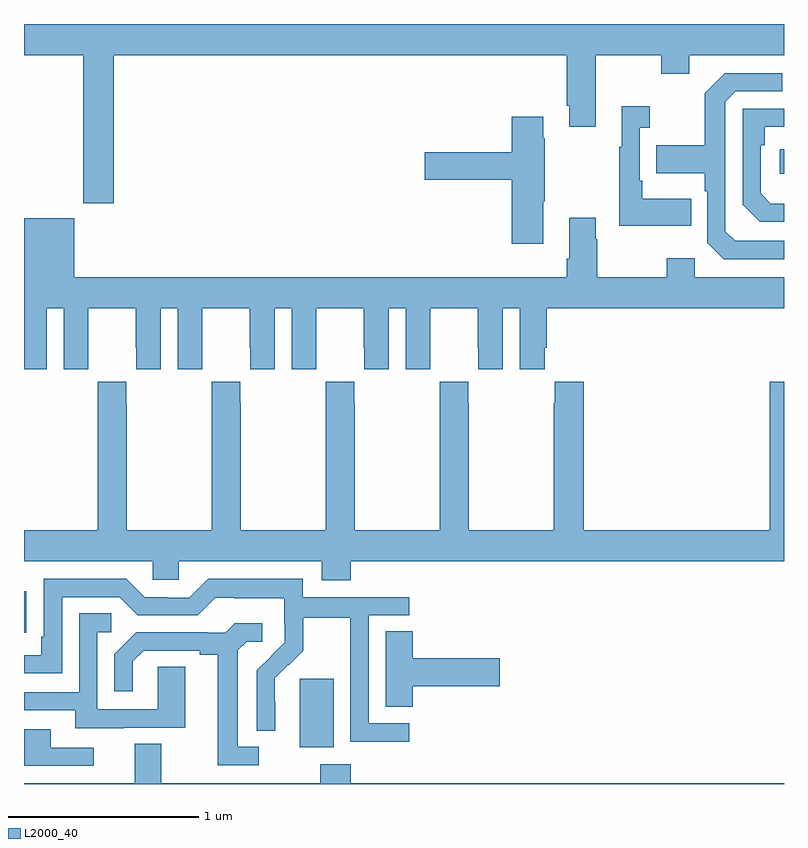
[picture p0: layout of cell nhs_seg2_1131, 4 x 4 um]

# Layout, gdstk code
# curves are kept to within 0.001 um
import gdstk
lib = gdstk.Library(unit=1e-6, precision=1e-09)
def R(c, l, rs):  # rectangles x0, y0, x1, y1
    for r in rs: c.add(gdstk.rectangle(r[:2], r[2:], *l))
def P(c, l, *ps):  # polygons
    for p in ps: c.add(gdstk.Polygon(p, *l))
L2000_40 = (2000, 40)

nhs_seg2_1131 = lib.new_cell('nhs_seg2_1131')
R(nhs_seg2_1131, L2000_40, [(170.45,643.994,170.629,644.355), (169,644.596,169.013,644.815), (172.977,647.012,173,647.142)])
P(nhs_seg2_1131, L2000_40, [(169,647.636),(169.312,647.636),(169.312,646.857),(169.472,646.857),(169.472,647.636),(171.857,647.636),(171.857,647.371),(171.869,647.371),(171.869,647.259),(172.009,647.259),(172.009,647.636),(172.354,647.636),(172.354,647.537),(172.501,647.537),(172.501,647.636),(173,647.636),(173,647.8),(169,647.8)],
  [(173,646.659),(172.743,646.659),(172.692,646.71),(172.692,647.391),(172.746,647.445),(172.99,647.445),(172.99,647.541),(172.689,647.541),(172.584,647.435),(172.584,647.163),(172.327,647.163),(172.327,647.015),(172.584,647.015),(172.584,646.919),(172.596,646.919),(172.596,646.65),(172.683,646.563),(173,646.563)],
  [(172.511,646.879),(172.255,646.879),(172.255,646.975),(172.242,646.975),(172.242,647.255),(172.294,647.255),(172.294,647.368),(172.145,647.368),(172.145,647.155),(172.134,647.155),(172.134,646.739),(172.511,646.739)],
  [(173,646.855),(172.931,646.855),(172.878,646.908),(172.878,647.162),(172.898,647.162),(172.898,647.259),(173,647.259),(173,647.355),(172.782,647.355),(172.782,646.848),(172.872,646.758),(173,646.758)],
  [(171.733,646.867),(171.741,646.867),(171.741,647.198),(171.733,647.198),(171.733,647.311),(171.566,647.311),(171.566,647.126),(171.108,647.126),(171.108,646.979),(171.566,646.979),(171.566,646.644),(171.733,646.644)],
  [(169.12,646.304),(169.208,646.304),(169.208,645.984),(169.338,645.984),(169.338,646.096),(169.339,646.096),(169.339,646.304),(169.589,646.304),(169.589,646.096),(169.59,646.096),(169.59,645.984),(169.72,645.984),(169.72,646.304),(169.808,646.304),(169.808,645.984),(169.938,645.984),(169.938,646.096),(169.939,646.096),(169.939,646.304),(170.189,646.304),(170.189,646.096),(170.19,646.096),(170.19,645.984),(170.32,645.984),(170.32,646.304),(170.408,646.304),(170.408,645.984),(170.538,645.984),(170.538,646.096),(170.539,646.096),(170.539,646.304),(170.789,646.304),(170.789,646.096),(170.79,646.096),(170.79,645.984),(170.92,645.984),(170.92,646.304),(171.008,646.304),(171.008,645.984),(171.138,645.984),(171.138,646.096),(171.139,646.096),(171.139,646.304),(171.389,646.304),(171.389,646.096),(171.39,646.096),(171.39,645.984),(171.52,645.984),(171.52,646.304),(171.608,646.304),(171.608,645.984),(171.742,645.984),(171.742,646.096),(171.752,646.096),(171.752,646.304),(173,646.304),(173,646.468),(172.53,646.468),(172.53,646.567),(172.384,646.567),(172.384,646.468),(172.017,646.468),(172.017,646.667),(172.009,646.667),(172.009,646.78),(171.869,646.78),(171.869,646.564),(171.857,646.564),(171.857,646.468),(169.264,646.468),(169.264,646.777),(169,646.777),(169,645.984),(169.12,645.984)],
  [(173,645.916),(172.925,645.916),(172.925,645.136),(171.947,645.136),(171.947,645.916),(171.793,645.916),(171.793,645.803),(171.787,645.803),(171.787,645.136),(171.342,645.136),(171.342,645.803),(171.339,645.803),(171.339,645.916),(171.189,645.916),(171.189,645.803),(171.187,645.803),(171.187,645.136),(170.742,645.136),(170.742,645.803),(170.739,645.803),(170.739,645.916),(170.589,645.916),(170.589,645.803),(170.587,645.803),(170.587,645.136),(170.142,645.136),(170.142,645.803),(170.139,645.803),(170.139,645.916),(169.989,645.916),(169.989,645.803),(169.987,645.803),(169.987,645.136),(169.542,645.136),(169.542,645.803),(169.539,645.803),(169.539,645.916),(169.389,645.916),(169.389,645.803),(169.387,645.803),(169.387,645.136),(169,645.136),(169,644.972),(169.677,644.972),(169.677,644.874),(169.815,644.874),(169.815,644.972),(170.567,644.972),(170.567,644.873),(170.72,644.873),(170.72,644.972),(173,644.972)],
  [(171.028,644.121),(170.814,644.121),(170.814,644.688),(171.028,644.688),(171.028,644.784),(170.466,644.784),(170.466,644.881),(169.969,644.881),(169.869,644.781),(169.754,644.781),(169.754,644.784),(169.635,644.784),(169.539,644.88),(169.104,644.88),(169.104,644.575),(169.091,644.575),(169.091,644.478),(169,644.478),(169,644.382),(169.2,644.382),(169.2,644.784),(169.503,644.784),(169.599,644.688),(169.914,644.688),(170.007,644.781),(170.107,644.781),(170.107,644.777),(170.37,644.777),(170.37,644.643),(170.372,644.643),(170.372,644.546),(170.226,644.398),(170.226,644.08),(170.322,644.08),(170.321,644.357),(170.391,644.427),(170.394,644.424),(170.471,644.501),(170.471,644.676),(170.716,644.676),(170.716,644.452),(170.718,644.452),(170.718,644.023),(171.028,644.023)],
  [(169.525,644.097),(169.849,644.097),(169.849,644.417),(169.704,644.417),(169.704,644.193),(169.386,644.193),(169.386,644.598),(169.459,644.598),(169.459,644.699),(169.29,644.699),(169.29,644.283),(169,644.283),(169,644.187),(169.271,644.187),(169.271,644.093),(169.525,644.093)],
  [(170.236,643.995),(170.125,643.995),(170.125,644.503),(170.172,644.55),(170.254,644.55),(170.254,644.647),(170.11,644.647),(170.058,644.595),(169.964,644.595),(169.964,644.598),(169.592,644.598),(169.476,644.482),(169.476,644.289),(169.573,644.289),(169.573,644.445),(169.63,644.502),(169.925,644.502),(169.925,644.48),(170.021,644.48),(170.021,643.899),(170.236,643.899)],
  [(171.047,644.315),(171.505,644.315),(171.505,644.462),(171.047,644.462),(171.047,644.603),(170.903,644.603),(170.903,644.206),(171.047,644.206)],
  [(169.366,643.992),(169.141,643.992),(169.141,644.088),(169,644.088),(169,643.992),(169.001,643.992),(169.001,643.896),(169.366,643.896)],
  [(173,643.804),(170.72,643.804),(170.72,643.903),(170.56,643.903),(170.56,643.804),(169.723,643.804),(169.723,644.012),(169.583,644.012),(169.583,643.804),(169,643.804),(169,643.8),(173,643.8)])

lib.write_gds('nhs_seg2_1131.gds')
